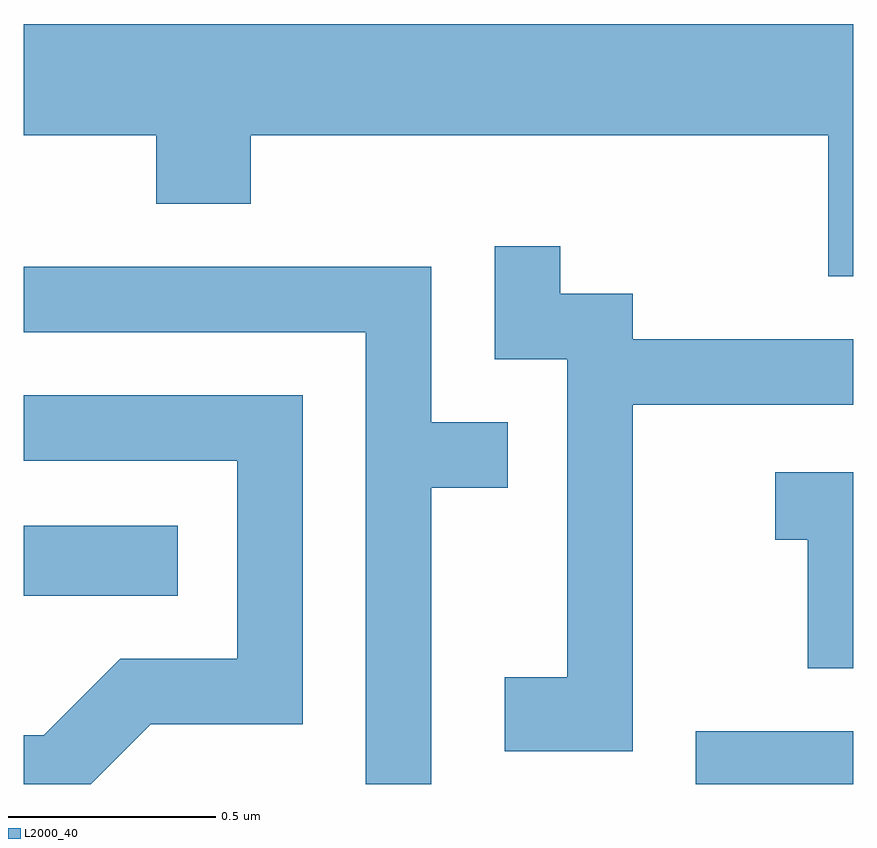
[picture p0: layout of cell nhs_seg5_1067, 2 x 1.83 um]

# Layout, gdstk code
import gdstk
lib = gdstk.Library(unit=1e-6, precision=1e-09)
def R(c, l, rs):  # rectangles x0, y0, x1, y1
    for r in rs: c.add(gdstk.rectangle(r[:2], r[2:], *l))
def P(c, l, *ps):  # polygons
    for p in ps: c.add(gdstk.Polygon(p, *l))
L2000_40 = (2000, 40)

nhs_seg5_1067 = lib.new_cell('nhs_seg5_1067')
R(nhs_seg5_1067, L2000_40, [(194.231,1504.072,194.611,1504.199), (192.611,1504.526,192.983,1504.694)])
P(nhs_seg5_1067, L2000_40, [(194.611,1505.904),(192.611,1505.904),(192.611,1505.636),(192.931,1505.636),(192.931,1505.471),(193.159,1505.471),(193.159,1505.636),(194.551,1505.636),(194.551,1505.296),(194.611,1505.296)],
  [(194.079,1504.986),(194.611,1504.986),(194.611,1505.144),(194.079,1505.144),(194.079,1505.254),(193.904,1505.254),(193.904,1505.368),(193.746,1505.368),(193.746,1505.096),(193.921,1505.096),(193.921,1504.329),(193.771,1504.329),(193.771,1504.151),(194.079,1504.151)],
  [(193.594,1504.786),(193.778,1504.786),(193.778,1504.944),(193.594,1504.944),(193.594,1505.319),(192.611,1505.319),(192.611,1505.161),(193.436,1505.161),(193.436,1504.072),(193.594,1504.072)],
  [(192.917,1504.216),(193.284,1504.216),(193.284,1505.009),(192.611,1505.009),(192.611,1504.851),(193.126,1504.851),(193.126,1504.374),(192.844,1504.374),(192.659,1504.189),(192.611,1504.189),(192.611,1504.072),(192.773,1504.072)],
  [(194.611,1504.824),(194.423,1504.824),(194.423,1504.661),(194.501,1504.661),(194.501,1504.351),(194.611,1504.351)])

lib.write_gds('nhs_seg5_1067.gds')
